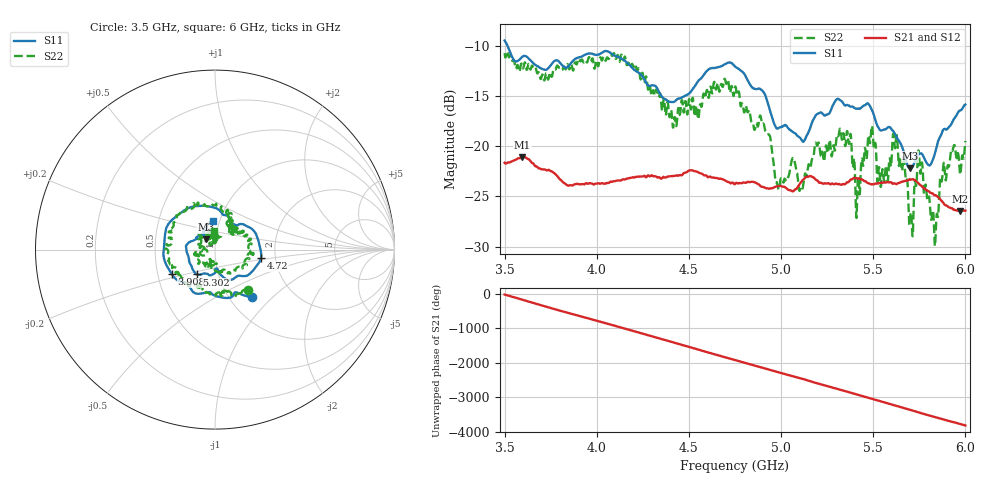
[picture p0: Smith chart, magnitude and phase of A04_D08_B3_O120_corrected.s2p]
! Created with skrf 1.9.0 (http://scikit-rf.org).
# Hz S RI R 50.0
!freq ReS11 ImS11 ReS21 ImS21 ReS12 ImS12 ReS22 ImS22
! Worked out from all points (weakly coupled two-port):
!   1601 points, 3.5 GHz to 6 GHz, reference 50 ohm
!   highest |S21| = -21.08 dB at 3.595 GHz (marker M1); lowest = -26.5 dB at 5.972 GHz (marker M2)
!   lowest |S11| = -22.2 dB at 5.7 GHz (marker M3), VSWR 1.17, Z = 44.8 + j5.27 ohm
!   |S11| at or under -10 dB: 3.515 GHz to end of sweep
!   |S22| runs from -30.0 to -10.6 dB; largest |S21 - S12| = 0.0012
!   S11 on the Smith chart (normalised r, x): 3.5 GHz: 1.28, -0.75; 3.908 GHz: 0.59, -0.18; 4.72 GHz: 1.68, -0.17; 5.302 GHz: 0.79, -0.22; 6 GHz: 0.93, +0.31
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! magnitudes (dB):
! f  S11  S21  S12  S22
! 3.5 GHz  -9.5  -21.7  -21.7  -10.8
! 3.595 GHz  -11.1  -21.1  -21.1  -12.0
! 3.908 GHz  -11.2  -23.8  -23.8  -11.5
! 3.917 GHz  -11.1  -23.8  -23.8  -11.4
! 4.334 GHz  -14.5  -23.1  -23.1  -15.1
! 4.72 GHz  -11.7  -23.6  -23.7  -14.6
! 4.75 GHz  -12.1  -23.8  -23.7  -14.2
! 4.931 GHz  -15.9  -24.2  -24.2  -18.8
! 4.981 GHz  -18.3  -24.0  -24.0  -23.9
! 5.167 GHz  -17.7  -23.1  -23.0  -21.3
! 5.302 GHz  -15.4  -23.8  -23.7  -19.1
! 5.369 GHz  -16.0  -23.5  -23.5  -19.8
! 5.416 GHz  -16.3  -23.2  -23.3  -23.7
! 5.484 GHz  -16.1  -23.8  -23.8  -19.5
! 5.584 GHz  -18.1  -23.6  -23.6  -22.0
! 5.619 GHz  -18.8  -23.7  -23.8  -20.2
! 5.7 GHz  -22.2  -23.3  -23.3  -27.2
! 5.752 GHz  -20.8  -23.8  -23.8  -21.7
! 5.841 GHz  -20.3  -24.9  -24.9  -27.8
! 5.875 GHz  -18.6  -25.5  -25.5  -23.0
! 5.972 GHz  -16.5  -26.5  -26.4  -22.8
! 6 GHz  -15.9  -26.4  -26.4  -19.5
